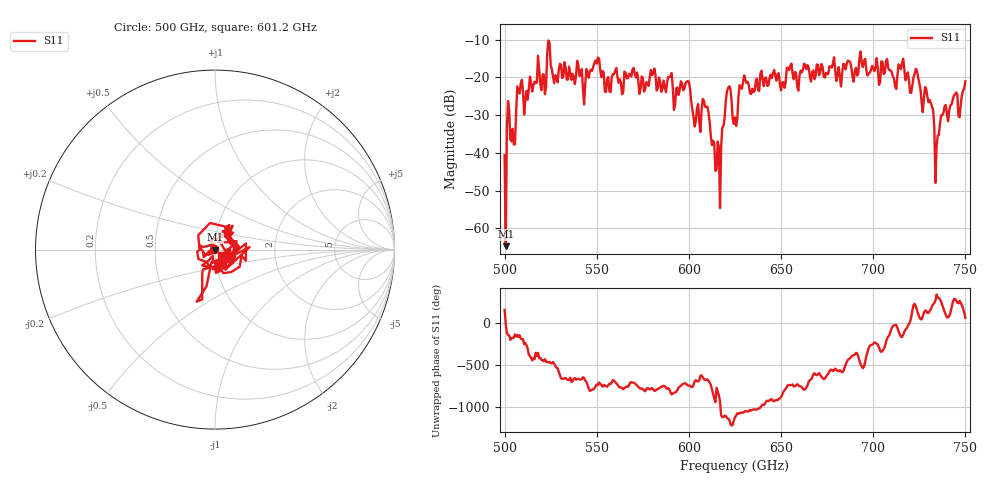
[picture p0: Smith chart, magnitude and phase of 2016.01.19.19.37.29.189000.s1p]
!Created with skrf (http://scikit-rf.org).
# GHz S RI R 50.0
!freq ReS11 ImS11
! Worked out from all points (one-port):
!   401 points, 500 GHz to 750 GHz, reference 50 ohm
!   lowest |S11| = -64.7 dB at 500.6 GHz (marker M1), VSWR 1.00, Z = 50.1 - j0.0163 ohm
!   |S11| at or under -10 dB: start of sweep to end of sweep
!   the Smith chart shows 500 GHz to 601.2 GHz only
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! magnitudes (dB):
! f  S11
! 500 GHz  -40.7
! 500.6 GHz  -64.7
! 502.5 GHz  -29.0
! 505 GHz  -37.8
! 508.1 GHz  -24.3
! 521.2 GHz  -19.2
! 524.4 GHz  -10.8
! 527.5 GHz  -19.5
! 531.2 GHz  -20.2
! 543.8 GHz  -21.8
! 550 GHz  -16.4
! 562.5 GHz  -20.5
! 580.6 GHz  -19.0
! 593.8 GHz  -22.7
! 599.4 GHz  -21.0
! 603.1 GHz  -33.0
! 608.8 GHz  -27.8
! 615.6 GHz  -37.0
! 621.2 GHz  -22.8
! 625 GHz  -30.6
! 630.6 GHz  -20.7
! 656.2 GHz  -19.1
! 687.5 GHz  -15.9
! 718.8 GHz  -18.7
! 729.4 GHz  -25.2
! 734.4 GHz  -38.2
! 738.1 GHz  -29.3
! 750 GHz  -21.1
